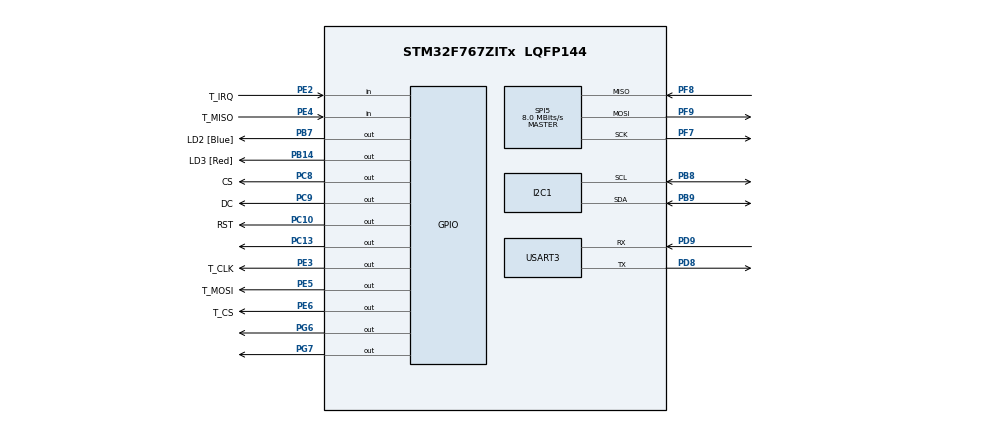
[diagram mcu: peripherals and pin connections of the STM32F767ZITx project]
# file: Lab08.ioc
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CORTEX_M7.ART_ACCELERATOR_ENABLE=1
CORTEX_M7.CPU_DCache=Enabled
CORTEX_M7.CPU_ICache=Enabled
CORTEX_M7.MPU_Control=__NULL
CORTEX_M7.PREFETCH_ENABLE=1
CORTEX_M7.default_mode_Activation=1
Mcu.Family=STM32F7
Mcu.Name=STM32F767ZITx
Mcu.Package=LQFP144
NVIC.PriorityGroup=NVIC_PRIORITYGROUP_4
PB14.GPIO_Label=LD3 [Red]
PB14.Signal=GPIO_Output
PB7.GPIO_Label=LD2 [Blue]
PB7.Signal=GPIO_Output
PB8.Mode=I2C
PB8.Signal=I2C1_SCL
PB9.Mode=I2C
PB9.Signal=I2C1_SDA
PC10.GPIO_Label=RST
PC10.GPIO_Speed=GPIO_SPEED_FREQ_VERY_HIGH
PC10.Signal=GPIO_Output
PC13.Signal=GPIO_Output
PC8.GPIO_Label=CS
PC8.GPIO_Speed=GPIO_SPEED_FREQ_VERY_HIGH
PC8.Signal=GPIO_Output
PC9.GPIO_Label=DC
PC9.GPIO_Speed=GPIO_SPEED_FREQ_VERY_HIGH
PC9.Signal=GPIO_Output
PD8.Mode=Asynchronous
PD8.Signal=USART3_TX
PD9.Mode=Asynchronous
PD9.Signal=USART3_RX
PE2.GPIO_Label=T_IRQ
PE2.Signal=GPIO_Input
PE3.GPIO_Label=T_CLK
PE3.GPIO_Speed=GPIO_SPEED_FREQ_VERY_HIGH
PE3.Signal=GPIO_Output
PE4.GPIO_Label=T_MISO
PE4.Signal=GPIO_Input
PE5.GPIO_Label=T_MOSI
PE5.GPIO_Speed=GPIO_SPEED_FREQ_VERY_HIGH
PE5.Signal=GPIO_Output
PE6.GPIO_Label=T_CS
PE6.Signal=GPIO_Output
PF7.Mode=Full_Duplex_Master
PF7.Signal=SPI5_SCK
PF8.Mode=Full_Duplex_Master
PF8.Signal=SPI5_MISO
PF9.Mode=Full_Duplex_Master
PF9.Signal=SPI5_MOSI
PG6.Signal=GPIO_Output
PG7.Signal=GPIO_Output
ProjectManager.HeapSize=0x200
ProjectManager.StackSize=0x400
ProjectManager.TargetToolchain=STM32CubeIDE
RCC.HSE_VALUE=25000000
RCC.HSI_VALUE=16000000
RCC.LSE_VALUE=32768
RCC.USBFreq_Value=96000000
RCC.VCOOutputFreq_Value=192000000
SPI5.CalculateBaudRate=8.0 MBits/s
SPI5.DataSize=SPI_DATASIZE_8BIT
SPI5.Direction=SPI_DIRECTION_2LINES
SPI5.Mode=SPI_MODE_MASTER
SPI5.NSSPMode=SPI_NSS_PULSE_DISABLE
SPI5.VirtualType=VM_MASTER
TIM1.ClockDivision=TIM_CLOCKDIVISION_DIV2
TIM1.Period=0
TIM1.Prescaler=10000
USART3.VirtualMode-Asynchronous=VM_ASYNC
VP_RNG_VS_RNG.Mode=RNG_Activate
VP_TIM1_VS_ClockSourceINT.Mode=Internal
board=custom

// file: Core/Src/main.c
/* USER CODE BEGIN Header */
/**
  ******************************************************************************
  * @file           : main.c
  * @brief          : Main program body
  ******************************************************************************
  * @attention
  *
  * Copyright (c) 2025 STMicroelectronics.
  * All rights reserved.
  *
  * This software is licensed under terms that can be found in the LICENSE file
  * in the root directory of this software component.
  * If no LICENSE file comes with this software, it is provided AS-IS.
  *
  ******************************************************************************
  */
/* USER CODE END Header */
#include "main.h"
#include "i2c.h"
#include "rng.h"
#include "spi.h"
#include "tim.h"
#include "usart.h"
#include "gpio.h"

/* USER CODE BEGIN Includes */
#include "ILI9341_Touchscreen.h"
#include "ILI9341_STM32_Driver.h"
#include "ILI9341_GFX.h"

#include "snow_tiger.h"

#include "stdio.h"
#include "string.h"

/* USER CODE END Includes */

/* USER CODE BEGIN PD */

#define LIGHT_RED 0b1111110011010011
#define LIGHT_GREEN 0b1001111111110011
#define LIGHT_BLUE 0b1001110011011111

/* USER CODE END PD */

char str[50];
char debug[50];
uint8_t cmdBuffer[3];
uint8_t dataBuffer[8];
uint16_t mixedColor = 0x0000;

float h = 30.0, t = 40.0;
uint8_t step = 0;
volatile uint8_t touchFlag = 0;

float Red_L = 0;
float Green_L = 0;
float Blue_L = 0;

uint8_t redValue = 0;
uint8_t greenValue = 0;
uint8_t blueValue = 0;

HAL_StatusTypeDef status;

/* USER CODE BEGIN PV */
/* Private variables ---------------------------------------------------------*/

/* USER CODE END PV */

void SystemClock_Config(void);
/* USER CODE BEGIN PFP */
/* Private function prototypes -----------------------------------------------*/
uint16_t CRC16_2(uint8_t *, uint8_t);
/* USER CODE END PFP */

/* USER CODE BEGIN 0 */
uint16_t CRC16_2(uint8_t *ptr, uint8_t length){

	uint16_t crc = 0xFFFF;
	uint8_t  s   = 0x00;

	while(length--){
		crc ^= *ptr++;
		for(s = 0; s < 8; s++){
			if((crc & 0x01) != 0){
				crc >>= 1;
				crc ^= 0xA001;
			} else crc >>= 1;
		}
	}
	return crc;
}

uint8_t IsCircleTouched(uint16_t tx, uint16_t ty, uint16_t cx, uint16_t cy, uint16_t r) {
    int dx = tx - cx;
    int dy = ty - cy;
    return (dx*dx + dy*dy <= r*r);  // inside circle?
}

void mixColor() {
  redValue = 0b11111;
  greenValue = 0b111111;
  blueValue = 0b11111;

  redValue = (uint8_t)(redValue * Red_L);
  greenValue = (uint8_t)(greenValue * Green_L);
  blueValue = (uint8_t)(blueValue * Blue_L);

  mixedColor = (uint16_t)(blueValue);
  mixedColor |= (greenValue << 5);
  mixedColor |= (redValue << 11);
}

/* USER CODE END 0 */

int main(void)
{

  /* Enable the CPU Cache */

  /* Enable I-Cache---------------------------------------------------------*/
  SCB_EnableICache();

  /* Enable D-Cache---------------------------------------------------------*/
  SCB_EnableDCache();

  /* MCU Configuration--------------------------------------------------------*/

  /* Reset of all peripherals, Initializes the Flash interface and the Systick. */
  HAL_Init();

  /* Configure the system clock */
  SystemClock_Config();

  /* Initialize all configured peripherals */
  MX_GPIO_Init();
  MX_RNG_Init();
  MX_SPI5_Init();
  MX_TIM1_Init();
  MX_USART3_UART_Init();
  MX_I2C1_Init();
  /* USER CODE BEGIN 2 */

  ILI9341_Init();//initial driver setup to drive ili9341
  ILI9341_Set_Rotation(SCREEN_HORIZONTAL_2);
  ILI9341_Fill_Screen(WHITE);

  cmdBuffer[0] = 0x03;
  cmdBuffer[1] = 0x00;
  cmdBuffer[2] = 0x04;

	ILI9341_Draw_Filled_Circle(150, 50, 30/2, BLACK);

	ILI9341_Draw_Filled_Circle(50, 100, 30/2, RED);
	ILI9341_Draw_Filled_Circle(50, 150, 30/2, GREEN);
	ILI9341_Draw_Filled_Circle(50, 200, 30/2, BLUE);

  /* USER CODE END 2 */

  /* Infinite loop */
  while (1)
  {

    /* USER CODE BEGIN 3 */
	  sprintf(str, "Temperature = %4.1f\tHumidity = %4.1f\n\r", t, h);
	  while(__HAL_UART_GET_FLAG(&huart3, UART_FLAG_TC) == RESET){}
	  HAL_UART_Transmit(&huart3, (uint8_t*)str, strlen(str), 200);

	  HAL_I2C_Master_Transmit(&hi2c1, 0x5c<<1, cmdBuffer, 3, 200);

	  HAL_I2C_Master_Transmit(&hi2c1, 0x5c<<1, cmdBuffer, 3, 200);

	  HAL_Delay(1);

	  HAL_I2C_Master_Receive(&hi2c1, 0x5c<<1, dataBuffer, 8, 200);

	  uint8_t Rcrc = dataBuffer[7] << 8;
	  Rcrc += dataBuffer[6];

	  if (Rcrc == CRC16_2(dataBuffer, 6)) {
		  uint16_t temperature = ((dataBuffer[4] & 0x7F) << 8) + dataBuffer[5];
		  t = temperature / 10.0;
		  t = (((dataBuffer[4] & 0x80) >> 7) == 1) ? (t * (-1)) : t;

		  uint16_t humidity = (dataBuffer[2] << 8) + dataBuffer[3];
		  h = humidity / 10.0;
	  }

	  	uint8_t T_Buffer[8];
	  	uint8_t H_Buffer[8];

		sprintf(T_Buffer, "%4.1f C", t);
		ILI9341_Draw_Text(T_Buffer, 60, 40, BLACK, 2, WHITE);

		sprintf(H_Buffer, "%4.1f %%RH", h);
		ILI9341_Draw_Text(H_Buffer, 170, 40, BLACK, 2, WHITE);
//		HAL_Delay(2000);
//		ILI9341_Fill_Screen(WHITE);

		ILI9341_Draw_Rectangle(70, 90, 170, 20, LIGHT_RED);
		ILI9341_Draw_Rectangle(70, 90,  (uint16_t)(170 * Red_L), 20, RED);

		ILI9341_Draw_Rectangle(70, 140, 170, 20, LIGHT_GREEN);
		ILI9341_Draw_Rectangle(70, 140, (uint16_t)(170 * Green_L), 20, GREEN);

		ILI9341_Draw_Rectangle(70, 190, 170, 20, LIGHT_BLUE);
		ILI9341_Draw_Rectangle(70, 190, (uint16_t)(170 * Blue_L), 20, BLUE);

		ILI9341_Draw_Filled_Circle(150, 50, 30/2, mixedColor);
		sprintf(debug, "Mixed Color = %d\n", mixedColor);
//		HAL_UART_Transmit(&huart3, (uint8_t*)debug, strlen(debug), 200);

		if (TP_Touchpad_Pressed()) {

			uint16_t coords[2];
			uint16_t tx = 0;
			uint16_t ty = 0;

//			HAL_GPIO_WritePin(GPIOB, GPIO_PIN_7, SET);
//			HAL_Delay(100);
//			HAL_GPIO_WritePin(GPIOB, GPIO_PIN_7, RESET);

			if (TP_Read_Coordinates(coords) == TOUCHPAD_DATA_OK) {
				tx = coords[0];
				ty = coords[1];

				sprintf(debug, "X = %d | Y = %d", coords[0], coords[1]);
				HAL_UART_Transmit(&huart3, (uint8_t*)debug, strlen(debug), 200);

				if ((tx >= 85 && tx <= 115) && (ty >= 265 && ty <= 295)) {
					Red_L += 0.1;
//					sprintf(debug, "Red_L = %.2f\r\n", Red_L);
//					HAL_UART_Transmit(&huart3, (uint8_t*)debug, strlen(debug), 200);

				}

			    if ((tx >= 135 && tx <= 165) && (ty >= 265 && ty <= 295)) {
					Green_L += 0.1;
//					sprintf(debug, "Green_L = %.2f\r\n", Green_L);
//					HAL_UART_Transmit(&huart3, (uint8_t*)debug, strlen(debug), 200);

				}

				if ((tx >= 185 && tx <= 215) && (ty >= 265 && ty <= 295)) {
					Blue_L += 0.1;
//					sprintf(debug, "Blue_L = %.2f\r\n", Blue_L);
//					HAL_UART_Transmit(&huart3, (uint8_t*)debug, strlen(debug), 200);

				}
			}
		}

		if (Red_L > 1.01) {
			Red_L = 0;
		}
		if (Green_L > 1.01) {
			Green_L = 0;
		}
		if (Blue_L > 1.01) {
			Blue_L = 0;
		}

		mixColor();

  }
  /* USER CODE END 3 */
}

void SystemClock_Config(void)
{
  RCC_OscInitTypeDef RCC_OscInitStruct = {0};
  RCC_ClkInitTypeDef RCC_ClkInitStruct = {0};

  /** Configure the main internal regulator output voltage
  */
  __HAL_RCC_PWR_CLK_ENABLE();
  __HAL_PWR_VOLTAGESCALING_CONFIG(PWR_REGULATOR_VOLTAGE_SCALE3);

  /** Initializes the RCC Oscillators according to the specified parameters
  * in the RCC_OscInitTypeDef structure.
  */
  RCC_OscInitStruct.OscillatorType = RCC_OSCILLATORTYPE_HSI;
  RCC_OscInitStruct.HSIState = RCC_HSI_ON;
  RCC_OscInitStruct.HSICalibrationValue = RCC_HSICALIBRATION_DEFAULT;
  RCC_OscInitStruct.PLL.PLLState = RCC_PLL_ON;
  RCC_OscInitStruct.PLL.PLLSource = RCC_PLLSOURCE_HSI;
  RCC_OscInitStruct.PLL.PLLM = 16;
  RCC_OscInitStruct.PLL.PLLN = 192;
  RCC_OscInitStruct.PLL.PLLP = RCC_PLLP_DIV2;
  RCC_OscInitStruct.PLL.PLLQ = 2;
  RCC_OscInitStruct.PLL.PLLR = 2;
  if (HAL_RCC_OscConfig(&RCC_OscInitStruct) != HAL_OK)
  {
    Error_Handler();
  }

  /** Initializes the CPU, AHB and APB buses clocks
  */
  RCC_ClkInitStruct.ClockType = RCC_CLOCKTYPE_HCLK|RCC_CLOCKTYPE_SYSCLK
                              |RCC_CLOCKTYPE_PCLK1|RCC_CLOCKTYPE_PCLK2;
  RCC_ClkInitStruct.SYSCLKSource = RCC_SYSCLKSOURCE_HSI;
  RCC_ClkInitStruct.AHBCLKDivider = RCC_SYSCLK_DIV1;
  RCC_ClkInitStruct.APB1CLKDivider = RCC_HCLK_DIV1;
  RCC_ClkInitStruct.APB2CLKDivider = RCC_HCLK_DIV1;

  if (HAL_RCC_ClockConfig(&RCC_ClkInitStruct, FLASH_LATENCY_0) != HAL_OK)
  {
    Error_Handler();
  }
}

/* USER CODE BEGIN 4 */
//void HAL_GPIO_EXTI_Callback(uint16_t GPIO_Pin)
//{
//    if (GPIO_Pin == T_IRQ_Pin) {
//
//    	uint16_t coords[2];
//    	if (TP_Read_Coordinates(coords) == TOUCHPAD_DATA_OK) {
//    		uint16_t tx = coords[0];
//    		uint16_t ty = coords[1];
//
//    		if (IsCircleTouched(tx, ty, 50, 100, 15)) {
//    			if (Red_L >= 100) {
//    				Red_L = 0;
//    			} else {
//    				Red_L += 10;
//    			}
//    		}
//            else if (IsCircleTouched(tx, ty, 50, 150, 15)) {
//            	if (Green_L >= 100) {
//            	    Green_L = 0;
//            	} else {
//            	    Green_L += 10;
//            	}
//    		}
//    	    else if (IsCircleTouched(tx, ty, 50, 200, 15)) {
//    	    	if (Blue_L >= 100) {
//    	    	    Blue_L = 0;
//    	    	} else {
//    	    	    Blue_L += 10;
//    	    	}
//    	    }
//    	}
//    }
//}

/* USER CODE END 4 */

void Error_Handler(void)
{
  __disable_irq();
  while (1)
  {
  }
}
